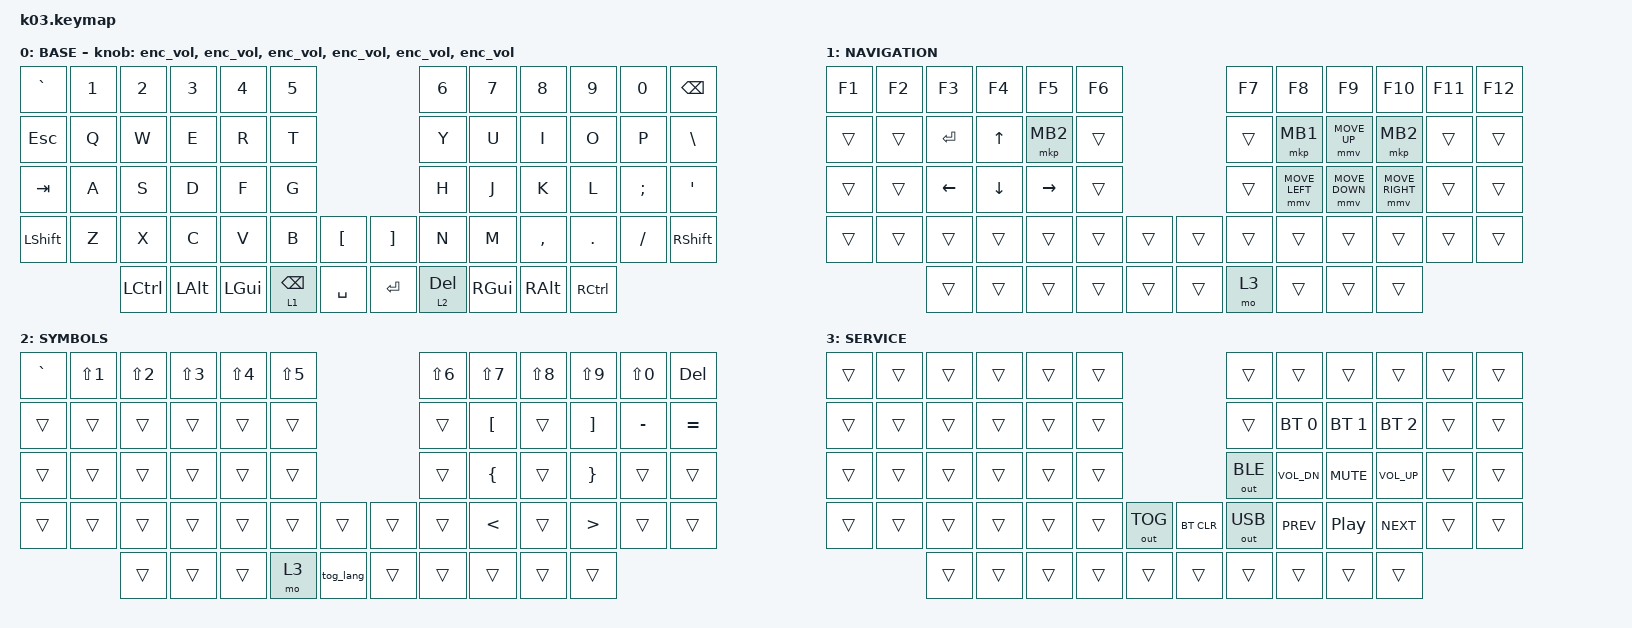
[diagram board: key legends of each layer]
#include "keys_ru.h"
#include <behaviors.dtsi>
#include <dt-bindings/zmk/bt.h>
#include <dt-bindings/zmk/keys.h>
#include <dt-bindings/zmk/outputs.h>
#include <dt-bindings/zmk/pointing.h>

&mmv {
};

&msc {
};

/ {
    behaviors {
        enc_vol: enc_vol {
            compatible = "zmk,behavior-sensor-rotate";
            label = "ENC_VOL";
            #sensor-binding-cells = <0>;
            bindings = <&kp C_VOL_UP>, <&kp C_VOL_DN>;
        };
    };

    combos {
        compatible = "zmk,combos";

        CAPS_LOCK {
            bindings = <&caps_word>;
            key-positions = <36 49>;
        };
    };

    macros {
        tog_lang: to_ru {
            compatible = "zmk,behavior-macro";
            #binding-cells = <0>;
            bindings = <&kp LG(SPACE)>;
            label = "TO_RU";
        };
    };

    keymap {
        compatible = "zmk,keymap";

        BASE {
            display-name = "BASE";
            bindings = <
&kp GRAVE  &kp N1  &kp N2     &kp N3    &kp N4        &kp N5                                   &kp N6        &kp N7    &kp N8     &kp N9     &kp N0    &kp BSPC
&kp ESC    &kp Q   &kp W      &kp E     &kp R         &kp T                                    &kp Y         &kp U     &kp I      &kp O      &kp P     &kp BSLH
&kp TAB    &kp A   &kp S      &kp D     &kp F         &kp G                                    &kp H         &kp J     &kp K      &kp L      &kp SEMI  &kp SQT
&kp LSHFT  &kp Z   &kp X      &kp C     &kp V         &kp B            &kp LBKT     &kp RBKT   &kp N         &kp M     &kp COMMA  &kp DOT    &kp FSLH  &kp RSHFT
                   &kp LCTRL  &kp LALT  &kp LEFT_GUI  &lt 1 BACKSPACE  &kp SPACE    &kp ENTER  &lt 2 DELETE  &kp RGUI  &kp RALT   &kp RCTRL
            >;

            sensor-bindings =
                <&enc_vol>,
                <&enc_vol>,
                <&enc_vol>,
                <&enc_vol>,
                <&enc_vol>,
                <&enc_vol>;
        };

        NAV {
            bindings = <
&kp F1  &kp F2  &kp F3     &kp F4    &kp F5     &kp F6                    &kp F7  &kp F8          &kp F9          &kp F10          &kp F11  &kp F12
&trans  &trans  &kp ENTER  &kp UP    &mkp MB2   &trans                    &trans  &mkp MB1        &mmv MOVE_UP    &mkp MB2         &trans   &trans
&trans  &trans  &kp LEFT   &kp DOWN  &kp RIGHT  &trans                    &trans  &mmv MOVE_LEFT  &mmv MOVE_DOWN  &mmv MOVE_RIGHT  &trans   &trans
&trans  &trans  &trans     &trans    &trans     &trans  &trans    &trans  &trans  &trans          &trans          &trans           &trans   &trans
                &trans     &trans    &trans     &trans  &trans    &trans  &mo 3   &trans          &trans          &trans
            >;

            display-name = "NAVIGATION";
        };

        SYM {
            bindings = <
&kp GRAVE  &kp LS(N1)  &kp LS(N2)  &kp LS(N3)  &kp LS(N4)  &kp LS(N5)                       &kp LS(N6)  &kp LS(N7)     &kp LS(N8)  &kp LS(N9)        &kp LS(N0)  &kp DELETE
&trans     &trans      &trans      &trans      &trans      &trans                           &trans      &kp LBKT       &trans      &kp RBKT          &kp MINUS   &kp EQUAL
&trans     &trans      &trans      &trans      &trans      &trans                           &trans      &kp LBRC       &trans      &kp RBRC          &trans      &trans
&trans     &trans      &trans      &trans      &trans      &trans      &trans       &trans  &trans      &kp LESS_THAN  &trans      &kp GREATER_THAN  &trans      &trans
                       &trans      &trans      &trans      &mo 3       &tog_lang    &trans  &trans      &trans         &trans      &trans
            >;

            display-name = "SYMBOLS";
        };

        SRVC {
            bindings = <
&trans  &trans  &trans  &trans  &trans  &trans                              &trans        &trans        &trans            &trans        &trans  &trans
&trans  &trans  &trans  &trans  &trans  &trans                              &trans        &bt BT_SEL 0  &bt BT_SEL 1      &bt BT_SEL 2  &trans  &trans
&trans  &trans  &trans  &trans  &trans  &trans                              &out OUT_BLE  &kp C_VOL_DN  &kp C_MUTE        &kp C_VOL_UP  &trans  &trans
&trans  &trans  &trans  &trans  &trans  &trans  &out OUT_TOG    &bt BT_CLR  &out OUT_USB  &kp C_PREV    &kp C_PLAY_PAUSE  &kp C_NEXT    &trans  &trans
                &trans  &trans  &trans  &trans  &trans          &trans      &trans        &trans        &trans            &trans
            >;

            display-name = "SERVICE";
        };
    };
};
